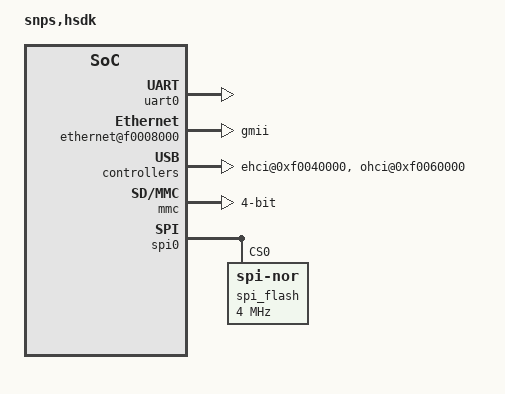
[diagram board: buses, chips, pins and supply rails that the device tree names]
// SPDX-License-Identifier: GPL-2.0+
/*
 * Copyright (C) 2017 Synopsys, Inc. All rights reserved.
 */
/dts-v1/;

#include "skeleton.dtsi"
#include "dt-bindings/clock/snps,hsdk-cgu.h"

/ {
	model = "snps,hsdk";

	#address-cells = <1>;
	#size-cells = <1>;

	aliases {
		console = &uart0;
		spi0 = &spi0;
	};

	cpu_card {
		core_clk: core_clk {
			#clock-cells = <0>;
			compatible = "fixed-clock";
			clock-frequency = <500000000>;
			u-boot,dm-pre-reloc;
		};
	};

	clk-fmeas {
		clocks = <&cgu_clk CLK_ARC_PLL>, <&cgu_clk CLK_SYS_PLL>,
			 <&cgu_clk CLK_TUN_PLL>, <&cgu_clk CLK_DDR_PLL>,
			 <&cgu_clk CLK_ARC>, <&cgu_clk CLK_HDMI_PLL>,
			 <&cgu_clk CLK_TUN_TUN>, <&cgu_clk CLK_HDMI>,
			 <&cgu_clk CLK_SYS_APB>, <&cgu_clk CLK_SYS_AXI>,
			 <&cgu_clk CLK_SYS_ETH>, <&cgu_clk CLK_SYS_USB>,
			 <&cgu_clk CLK_SYS_SDIO>, <&cgu_clk CLK_SYS_HDMI>,
			 <&cgu_clk CLK_SYS_GFX_CORE>, <&cgu_clk CLK_SYS_GFX_DMA>,
			 <&cgu_clk CLK_SYS_GFX_CFG>, <&cgu_clk CLK_SYS_DMAC_CORE>,
			 <&cgu_clk CLK_SYS_DMAC_CFG>, <&cgu_clk CLK_SYS_SDIO_REF>,
			 <&cgu_clk CLK_SYS_SPI_REF>, <&cgu_clk CLK_SYS_I2C_REF>,
			 <&cgu_clk CLK_SYS_UART_REF>, <&cgu_clk CLK_SYS_EBI_REF>,
			 <&cgu_clk CLK_TUN_ROM>, <&cgu_clk CLK_TUN_PWM>;
		clock-names = "cpu-pll", "sys-pll",
			      "tun-pll", "ddr-clk",
			      "cpu-clk", "hdmi-pll",
			      "tun-clk", "hdmi-clk",
			      "apb-clk", "axi-clk",
			      "eth-clk", "usb-clk",
			      "sdio-clk", "hdmi-sys-clk",
			      "gfx-core-clk", "gfx-dma-clk",
			      "gfx-cfg-clk", "dmac-core-clk",
			      "dmac-cfg-clk", "sdio-ref-clk",
			      "spi-clk", "i2c-clk",
			      "uart-clk", "ebi-clk",
			      "rom-clk", "pwm-clk";
	};

	cgu_clk: cgu-clk@f0000000 {
		compatible = "snps,hsdk-cgu-clock";
		reg = <0xf0000000 0x10>, <0xf00014B8 0x4>;
		#clock-cells = <1>;
	};

	uart0: serial0@f0005000 {
		compatible = "snps,dw-apb-uart";
		reg = <0xf0005000 0x1000>;
		reg-shift = <2>;
		reg-io-width = <4>;
	};

	ethernet@f0008000 {
		#interrupt-cells = <1>;
		compatible = "altr,socfpga-stmmac";
		reg = <0xf0008000 0x2000>;
		phy-mode = "gmii";
	};

	ehci@0xf0040000 {
		compatible = "generic-ehci";
		reg = <0xf0040000 0x100>;
	};

	ohci@0xf0060000 {
		compatible = "generic-ohci";
		reg = <0xf0060000 0x100>;
	};

	mmcclk_ciu: mmcclk-ciu {
		compatible = "fixed-clock";
		/*
		 * DW sdio controller has external ciu clock divider
		 * controlled via register in SDIO IP. Due to its
		 * unexpected default value (it should divide by 1
		 * but it divides by 8) SDIO IP uses wrong clock and
		 * works unstable (see STAR 9001204800)
		 * We switched to the minimum possible value of the
		 * divisor (div-by-2) in HSDK platform code.
		 * So default mmcclk ciu clock is 50000000 Hz.
		 */
		clock-frequency = <50000000>;
		#clock-cells = <0>;
	};

	mmc: mmc0@f000a000 {
		compatible = "snps,dw-mshc";
		reg = <0xf000a000 0x400>;
		bus-width = <4>;
		fifo-depth = <256>;
		clocks = <&cgu_clk CLK_SYS_SDIO>, <&mmcclk_ciu>;
		clock-names = "biu", "ciu";
		max-frequency = <25000000>;
	};

	spi0: spi@f0020000 {
		compatible = "snps,dw-apb-ssi";
		reg = <0xf0020000 0x1000>;
		#address-cells = <1>;
		#size-cells = <0>;
		spi-max-frequency = <4000000>;
		clocks = <&cgu_clk CLK_SYS_SPI_REF>;
		clock-names = "spi_clk";
		cs-gpio = <&cs_gpio 0>;
		spi_flash@0 {
			compatible = "jedec,spi-nor";
			reg = <0>;
			spi-max-frequency = <4000000>;
		};
	};

	cs_gpio: gpio@f00014b0 {
		compatible = "snps,creg-gpio";
		reg = <0xf00014b0 0x4>;
		gpio-controller;
		#gpio-cells = <1>;
		gpio-bank-name = "hsdk-spi-cs";
		gpio-count = <1>;
		gpio-first-shift = <0>;
		gpio-bit-per-line = <2>;
		gpio-activate-val = <2>;
		gpio-deactivate-val = <3>;
		gpio-default-val = <1>;
	};
};
